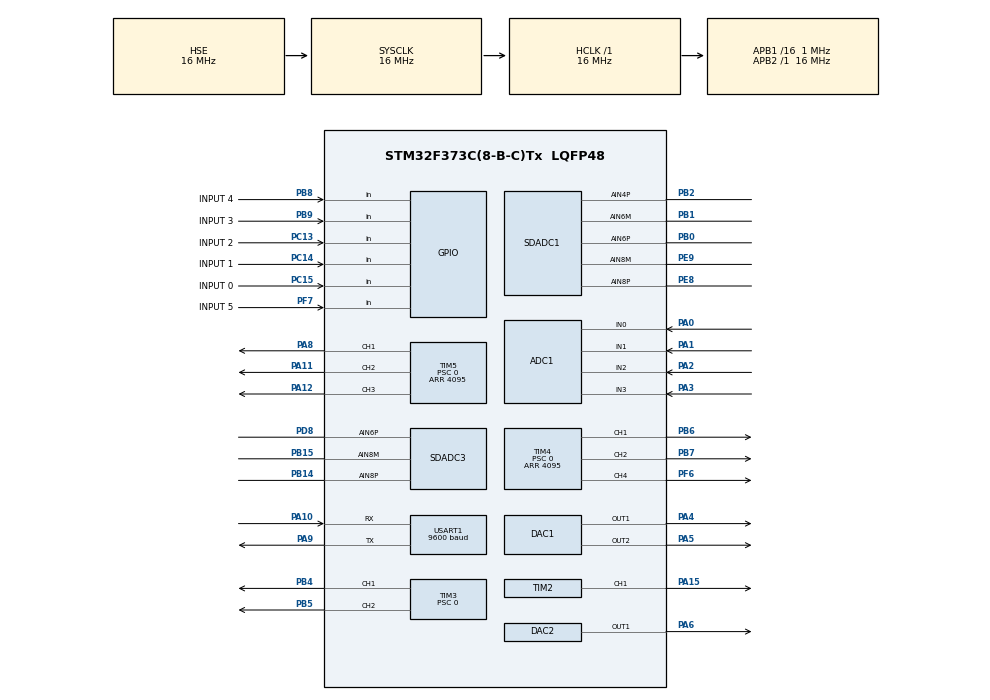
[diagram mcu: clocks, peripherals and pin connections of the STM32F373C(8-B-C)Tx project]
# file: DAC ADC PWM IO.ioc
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ADC1.Channel-4\#ChannelRegularConversion=ADC_CHANNEL_0
ADC1.Channel-5\#ChannelRegularConversion=ADC_CHANNEL_1
ADC1.Channel-6\#ChannelRegularConversion=ADC_CHANNEL_2
ADC1.Channel-7\#ChannelRegularConversion=ADC_CHANNEL_3
ADC1.ContinuousConvMode=ENABLE
ADC1.DiscontinuousConvMode=DISABLE
ADC1.EnableRegularConversion=ENABLE
ADC1.InjNumberOfConversion=0
ADC1.NbrOfConversion=4
ADC1.NbrOfConversionFlag=1
ADC1.Rank-4\#ChannelRegularConversion=1
ADC1.Rank-5\#ChannelRegularConversion=2
ADC1.Rank-6\#ChannelRegularConversion=3
ADC1.Rank-7\#ChannelRegularConversion=4
ADC1.SamplingTime-4\#ChannelRegularConversion=ADC_SAMPLETIME_239CYCLES_5
ADC1.SamplingTime-5\#ChannelRegularConversion=ADC_SAMPLETIME_239CYCLES_5
ADC1.SamplingTime-6\#ChannelRegularConversion=ADC_SAMPLETIME_239CYCLES_5
ADC1.SamplingTime-7\#ChannelRegularConversion=ADC_SAMPLETIME_239CYCLES_5
ADC1.master=1
DAC1.DAC_Trigger=DAC_TRIGGER_T6_TRGO
DAC1.DAC_Trigger2=DAC_TRIGGER_T6_TRGO
DAC2.DAC_Trigger=DAC_TRIGGER_T6_TRGO
Dma.ADC1.1.Direction=DMA_PERIPH_TO_MEMORY
Dma.ADC1.1.Instance=DMA1_Channel1
Dma.ADC1.1.MemDataAlignment=DMA_MDATAALIGN_HALFWORD
Dma.ADC1.1.MemInc=DMA_MINC_ENABLE
Dma.ADC1.1.Mode=DMA_CIRCULAR
Dma.ADC1.1.PeriphDataAlignment=DMA_PDATAALIGN_HALFWORD
Dma.ADC1.1.PeriphInc=DMA_PINC_DISABLE
Dma.ADC1.1.Priority=DMA_PRIORITY_LOW
Dma.Request0=USART1_RX
Dma.Request1=ADC1
Dma.USART1_RX.0.Direction=DMA_PERIPH_TO_MEMORY
Dma.USART1_RX.0.Instance=DMA1_Channel5
Dma.USART1_RX.0.MemDataAlignment=DMA_MDATAALIGN_BYTE
Dma.USART1_RX.0.MemInc=DMA_MINC_ENABLE
Dma.USART1_RX.0.Mode=DMA_CIRCULAR
Dma.USART1_RX.0.PeriphDataAlignment=DMA_PDATAALIGN_BYTE
Dma.USART1_RX.0.PeriphInc=DMA_PINC_DISABLE
Dma.USART1_RX.0.Priority=DMA_PRIORITY_LOW
Mcu.Family=STM32F3
Mcu.Name=STM32F373C(8-B-C)Tx
Mcu.Package=LQFP48
NVIC.DMA1_Channel1_IRQn=true\:0\:0\:false\:false\:true\:false\:true
NVIC.DMA1_Channel5_IRQn=true\:0\:0\:false\:false\:true\:false\:true
NVIC.PriorityGroup=NVIC_PRIORITYGROUP_4
NVIC.SDADC1_IRQn=true\:0\:0\:false\:false\:true\:true\:true
NVIC.SDADC3_IRQn=true\:0\:0\:false\:false\:true\:true\:true
PA0.Mode=IN0
PA0.Signal=ADC1_IN0
PA1.Mode=IN1
PA1.Signal=ADC1_IN1
PA10.GPIO_PuPd=GPIO_NOPULL
PA10.Mode=Asynchronous
PA10.Signal=USART1_RX
PA11.Signal=S_TIM5_CH2
PA12.Signal=S_TIM5_CH3
PA13.Mode=Trace_Asynchronous_SW
PA13.Signal=SYS_JTMS-SWDIO
PA14.Mode=Trace_Asynchronous_SW
PA14.Signal=SYS_JTCK-SWCLK
PA15.Signal=S_TIM2_CH1_ETR
PA2.Mode=IN2
PA2.Signal=ADC1_IN2
PA3.Mode=IN3
PA3.Signal=ADC1_IN3
PA4.Signal=COMP_DAC11_group
PA5.Signal=COMP_DAC12_group
PA6.Signal=COMP_DAC21_group
PA8.Signal=S_TIM5_CH1_ETR
PA9.GPIO_PuPd=GPIO_NOPULL
PA9.Mode=Asynchronous
PA9.Signal=USART1_TX
PB0.Mode=IN6-Differential
PB0.Signal=SDADC1_AIN6P
PB1.Mode=IN6-Differential
PB1.Signal=SDADC1_AIN6M
PB14.Mode=IN8-Differential
PB14.Signal=SDADC3_AIN8P
PB15.Mode=IN8-Differential
PB15.Signal=SDADC3_AIN8M
PB2.Mode=IN4-Single-Ended zero reference
PB2.Signal=SDADC1_AIN4P
PB3.Mode=Trace_Asynchronous_SW
PB3.Signal=SYS_JTDO-TRACESWO
PB4.Signal=S_TIM3_CH1
PB5.Signal=S_TIM3_CH2
PB6.Signal=S_TIM4_CH1
PB7.Signal=S_TIM4_CH2
PB8.GPIO_Label=INPUT 4
PB8.GPIO_PuPd=GPIO_PULLDOWN
PB8.Signal=GPIO_Input
PB9.GPIO_Label=INPUT 3
PB9.GPIO_PuPd=GPIO_PULLDOWN
PB9.Signal=GPIO_Input
PC13.GPIO_Label=INPUT 2
PC13.GPIO_PuPd=GPIO_PULLDOWN
PC13.Signal=GPIO_Input
PC14-OSC32_IN.GPIO_Label=INPUT 1
PC14-OSC32_IN.GPIO_PuPd=GPIO_PULLDOWN
PC14-OSC32_IN.Signal=GPIO_Input
PC15-OSC32_OUT.GPIO_Label=INPUT 0
PC15-OSC32_OUT.GPIO_PuPd=GPIO_PULLDOWN
PC15-OSC32_OUT.Signal=GPIO_Input
PD8.Mode=IN6-Single-Ended zero reference
PD8.Signal=SDADC3_AIN6P
PE8.Mode=IN8-Differential
PE8.Signal=SDADC1_AIN8P
PE9.Mode=IN8-Differential
PE9.Signal=SDADC1_AIN8M
PF0-OSC_IN.Mode=HSE-External-Oscillator
PF0-OSC_IN.Signal=RCC_OSC_IN
PF1-OSC_OUT.Mode=HSE-External-Oscillator
PF1-OSC_OUT.Signal=RCC_OSC_OUT
PF6.Signal=S_TIM4_CH4
PF7.GPIO_Label=INPUT 5
PF7.GPIO_PuPd=GPIO_PULLDOWN
PF7.Signal=GPIO_Input
ProjectManager.HeapSize=0x200
ProjectManager.StackSize=0x400
ProjectManager.TargetToolchain=STM32CubeIDE
RCC.AHBFreq_Value=16000000
RCC.APB1CLKDivider=RCC_HCLK_DIV16
RCC.APB1Freq_Value=1000000
RCC.APB1TimFreq_Value=2000000
RCC.APB2Freq_Value=16000000
RCC.APB2TimFreq_Value=16000000
RCC.CortexFreq_Value=16000000
RCC.HCLKFreq_Value=16000000
RCC.HSE_VALUE=16000000
RCC.HSI_VALUE=8000000
RCC.LSE_VALUE=32768
RCC.OscillatorTypeHSE-ClockTree=RCC_OSCILLATORTYPE_HSE
RCC.PLLSourceVirtual=RCC_PLLSOURCE_HSE
RCC.SDADCPresc=RCC_SDADCSYSCLK_DIV4
RCC.SYSCLKFreq_VALUE=16000000
RCC.SYSCLKSource=RCC_SYSCLKSOURCE_HSE
RCC.USBFreq_Value=32000000
SDADC1.EnableInjectedConversion=ENABLE
SDADC1.EnableRegularconversion=DISABLE
SDADC1.InjDelay=Enable
SDADC1.InjNumberOfConversion=3
SDADC1.InjectedChannel-10\#ChannelInjectedConversion=SDADC_CHANNEL_8
SDADC1.InjectedChannel-11\#ChannelInjectedConversion=SDADC_CHANNEL_6
SDADC1.InjectedChannel-9\#ChannelInjectedConversion=SDADC_CHANNEL_4
SDADC1.InjectedChannelsSelection=SDADC_CHANNEL_4|SDADC_CHANNEL_8|SDADC_CHANNEL_6
SDADC1.InjectedConfIndex-10\#ChannelInjectedConversion=SDADC_CONF_INDEX_1
SDADC1.InjectedConfIndex-11\#ChannelInjectedConversion=SDADC_CONF_INDEX_1
SDADC1.InjectedConfIndex-9\#ChannelInjectedConversion=SDADC_CONF_INDEX_0
SDADC1.InjectedContinuousMode=SDADC_CONTINUOUS_CONV_ON
SDADC1.InjectedRank-10\#ChannelInjectedConversion=2
SDADC1.InjectedRank-11\#ChannelInjectedConversion=3
SDADC1.InjectedRank-9\#ChannelInjectedConversion=1
SDADC1.InjectedTrigger=SDADC_SOFTWARE_TRIGGER
SDADC1.InputMode0=SDADC_INPUT_MODE_SE_ZERO_REFERENCE
SDADC1.NbrOfConversionFlag=1
SDADC1.Offset0=0
SDADC1.ReferenceVoltage=SDADC_VREF_VDDA
SDADC3.EnableInjectedConversion=ENABLE
SDADC3.EnableRegularconversion=DISABLE
SDADC3.FastConversionMode=SDADC_FAST_CONV_DISABLE
SDADC3.Gain0=SDADC_GAIN_1
SDADC3.InjDelay=Enable
SDADC3.InjNumberOfConversion=2
SDADC3.InjectedChannel-6\#ChannelInjectedConversion=SDADC_CHANNEL_6
SDADC3.InjectedChannel-7\#ChannelInjectedConversion=SDADC_CHANNEL_8
SDADC3.InjectedChannelsSelection=SDADC_CHANNEL_6|SDADC_CHANNEL_8
SDADC3.InjectedConfIndex-6\#ChannelInjectedConversion=SDADC_CONF_INDEX_0
SDADC3.InjectedConfIndex-7\#ChannelInjectedConversion=SDADC_CONF_INDEX_1
SDADC3.InjectedContinuousMode=SDADC_CONTINUOUS_CONV_ON
SDADC3.InjectedRank-6\#ChannelInjectedConversion=1
SDADC3.InjectedRank-7\#ChannelInjectedConversion=2
SDADC3.InputMode0=SDADC_INPUT_MODE_SE_ZERO_REFERENCE
SDADC3.NbrOfConversionFlag=1
SDADC3.ReferenceVoltage=SDADC_VREF_VDDA
SH.COMP_DAC11_group.0=DAC1_OUT1,DAC_OUT1
SH.COMP_DAC12_group.0=DAC1_OUT2,Enable_DAC_OUT2
SH.COMP_DAC21_group.0=DAC2_OUT1,DAC_OUT1
SH.S_TIM2_CH1_ETR.0=TIM2_CH1,PWM Generation1 CH1
SH.S_TIM3_CH1.0=TIM3_CH1,PWM Generation1 CH1
SH.S_TIM3_CH2.0=TIM3_CH2,PWM Generation2 CH2
SH.S_TIM4_CH1.0=TIM4_CH1,PWM Generation1 CH1
SH.S_TIM4_CH2.0=TIM4_CH2,PWM Generation2 CH2
SH.S_TIM4_CH4.0=TIM4_CH4,PWM Generation4 CH4
SH.S_TIM5_CH1_ETR.0=TIM5_CH1,PWM Generation1 CH1
SH.S_TIM5_CH2.0=TIM5_CH2,PWM Generation2 CH2
SH.S_TIM5_CH3.0=TIM5_CH3,PWM Generation3 CH3
TIM19.TIM_MasterOutputTrigger=TIM_TRGO_UPDATE
TIM2.Channel-PWM\ Generation1\ CH1=TIM_CHANNEL_1
TIM2.Period=4095
TIM2.Prescaler=0
TIM3.Channel-PWM\ Generation1\ CH1=TIM_CHANNEL_1
TIM3.Channel-PWM\ Generation2\ CH2=TIM_CHANNEL_2
TIM3.Period=4095
TIM3.Prescaler=0
TIM4.Channel-PWM\ Generation1\ CH1=TIM_CHANNEL_1
TIM4.Channel-PWM\ Generation2\ CH2=TIM_CHANNEL_2
TIM4.Channel-PWM\ Generation4\ CH4=TIM_CHANNEL_4
TIM4.Period=4095
TIM4.Prescaler=0
TIM5.Channel-PWM\ Generation1\ CH1=TIM_CHANNEL_1
TIM5.Channel-PWM\ Generation2\ CH2=TIM_CHANNEL_2
TIM5.Channel-PWM\ Generation3\ CH3=TIM_CHANNEL_3
TIM5.Period=4095
TIM5.Prescaler=0
TIM6.Period=65535
TIM6.Prescaler=0
TIM6.TIM_MasterOutputTrigger=TIM_TRGO_UPDATE
USART1.BaudRate=9600
USART1.VirtualMode-Asynchronous=VM_ASYNC
VP_SDADC1_CONF0.Mode=ConfigZero
VP_SDADC1_CONF1.Mode=ConfigUn
VP_SDADC3_CONF0.Mode=ConfigZero
VP_SDADC3_CONF1.Mode=ConfigUn
VP_TIM19_VS_ClockSourceINT.Mode=Internal
VP_TIM2_VS_ClockSourceINT.Mode=Internal
VP_TIM3_VS_ClockSourceINT.Mode=Internal
VP_TIM4_VS_ClockSourceINT.Mode=Internal
VP_TIM5_VS_ClockSourceINT.Mode=Internal
VP_TIM6_VS_ClockSourceINT.Mode=Enable_Timer
board=custom

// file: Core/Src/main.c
/* USER CODE BEGIN Header */
/**
 ******************************************************************************
 * @file           : main.c
 * @brief          : Main program body
 ******************************************************************************
 * @attention
 *
 * <h2><center>&copy; Copyright (c) 2020 STMicroelectronics.
 * All rights reserved.</center></h2>
 *
 * This software component is licensed by ST under BSD 3-Clause license,
 * the "License"; You may not use this file except in compliance with the
 * License. You may obtain a copy of the License at:
 *                        opensource.org/licenses/BSD-3-Clause
 *
 ******************************************************************************
 */
/* USER CODE END Header */
#include "main.h"

/* USER CODE BEGIN Includes */
#include "FlashMemory_F3/ReadWrite.h"
/* USER CODE END Includes */

ADC_HandleTypeDef hadc1;
DMA_HandleTypeDef hdma_adc1;

DAC_HandleTypeDef hdac1;
DAC_HandleTypeDef hdac2;

SDADC_HandleTypeDef hsdadc1;
SDADC_HandleTypeDef hsdadc3;

TIM_HandleTypeDef htim2;
TIM_HandleTypeDef htim3;
TIM_HandleTypeDef htim4;
TIM_HandleTypeDef htim5;
TIM_HandleTypeDef htim6;
TIM_HandleTypeDef htim19;

UART_HandleTypeDef huart1;
DMA_HandleTypeDef hdma_usart1_rx;

/* USER CODE BEGIN PV */
uint8_t RX_DATA[1 + 9 * 2 + 3 * 2] = { 0 }; // Choice + PWM + DAC
uint8_t TX_DATA[4 * 2 + 2 * 2 + 3 * 2 + 6] = { 0 }; // ADC + SDADC + DSDADC + DI
uint16_t PWM_PERIOD[9] = { 0 };
uint16_t DAC_OUTPUT[3] = { 0 };
uint16_t ADC_VALUES[4] = { 0 };
uint16_t SD_ADC[6] = {0}; // For both Differential and single
uint16_t DI_VALUES[6] = { 0 };
uint16_t TIM_PRESCALES[4] = { 0 }; // TIM2, TIM3, TIM4, TIM5
uint32_t CHANNEL = 4; // SD-ADC channels
/* USER CODE END PV */

void SystemClock_Config(void);
static void MX_GPIO_Init(void);
static void MX_DMA_Init(void);
static void MX_ADC1_Init(void);
static void MX_DAC1_Init(void);
static void MX_DAC2_Init(void);
static void MX_SDADC1_Init(void);
static void MX_SDADC3_Init(void);
static void MX_TIM2_Init(void);
static void MX_TIM3_Init(void);
static void MX_TIM4_Init(void);
static void MX_TIM5_Init(void);
static void MX_USART1_UART_Init(void);
static void MX_TIM19_Init(void);
static void MX_TIM6_Init(void);
/* USER CODE BEGIN PFP */
void fill_uint16_array(uint8_t array8[], uint16_t array16[], uint8_t elements_that_has_been_written, uint8_t size);
void fill_TX_DATA_16(uint8_t array8[], uint16_t array16[], uint8_t elements_that_has_been_written, uint8_t size);
void fill_TX_DATA_8(uint8_t array8[], uint16_t array16[], uint8_t elements_that_has_been_written, uint8_t size);
void read_PWM_TIM_prescalers_from_memory();
void write_PWM_TIM_prescalers_to_memory();
void read_PWM_DAC_periods_send_measurement_back();
void is_ready();
void is_not_ready();
/* USER CODE END PFP */

int main(void)
{

  /* MCU Configuration--------------------------------------------------------*/

  /* Reset of all peripherals, Initializes the Flash interface and the Systick. */
  HAL_Init();

  /* Configure the system clock */
  SystemClock_Config();

  /* Initialize all configured peripherals */
  MX_GPIO_Init();
  MX_DMA_Init();
  MX_ADC1_Init();
  MX_DAC1_Init();
  MX_DAC2_Init();
  MX_SDADC1_Init();
  MX_SDADC3_Init();
  MX_TIM2_Init();
  MX_TIM3_Init();
  MX_TIM4_Init();
  MX_TIM5_Init();
  MX_USART1_UART_Init();
  MX_TIM19_Init();
  MX_TIM6_Init();
  /* USER CODE BEGIN 2 */

	// DMA UART
	uint8_t RX_DATA_element_size = sizeof(RX_DATA);
	HAL_UART_Receive_DMA(&huart1, RX_DATA, RX_DATA_element_size);

	// TIM Trig
	HAL_TIM_Base_Start(&htim6); // For DAC
	HAL_TIM_Base_Start(&htim19); // For ADC

	// DMA ADC
	uint8_t ADC_element_size = sizeof(ADC_VALUES) / sizeof(ADC_VALUES[0]);
	HAL_ADC_Start_DMA(&hadc1, (uint32_t*) ADC_VALUES, ADC_element_size);

	// IT SD ADC
	HAL_SDADC_Start_IT(&hsdadc1);
	HAL_SDADC_Start_IT(&hsdadc3);

	// DAC
	HAL_DAC_Start(&hdac1, DAC1_CHANNEL_1);
	HAL_DAC_Start(&hdac1, DAC1_CHANNEL_2);
	HAL_DAC_Start(&hdac2, DAC1_CHANNEL_1);

	// PWM
	HAL_TIM_PWM_Start(&htim2, TIM_CHANNEL_1);
	HAL_TIM_PWM_Start(&htim3, TIM_CHANNEL_1);
	HAL_TIM_PWM_Start(&htim3, TIM_CHANNEL_2);
	HAL_TIM_PWM_Start(&htim4, TIM_CHANNEL_1);
	HAL_TIM_PWM_Start(&htim4, TIM_CHANNEL_2);
	HAL_TIM_PWM_Start(&htim4, TIM_CHANNEL_4);
	HAL_TIM_PWM_Start(&htim5, TIM_CHANNEL_1);
	HAL_TIM_PWM_Start(&htim5, TIM_CHANNEL_2);
	HAL_TIM_PWM_Start(&htim5, TIM_CHANNEL_3);

	// Set the PWM timers
	FlashSetAddrs(0x0803F800);
	read_PWM_TIM_prescalers_from_memory();

  /* USER CODE END 2 */

  /* Infinite loop */
	while (1) {

    /* USER CODE BEGIN 3 */
		// TIM 2
		htim2.Instance->CCR1 = PWM_PERIOD[4]; // P4
		// TIM 3
		htim3.Instance->CCR1 = PWM_PERIOD[5]; // P5
		htim3.Instance->CCR2 = PWM_PERIOD[6]; // P6
		// TIM 4
		htim4.Instance->CCR1 = PWM_PERIOD[7]; // P7
		htim4.Instance->CCR2 = PWM_PERIOD[8]; // P8
		htim4.Instance->CCR4 = PWM_PERIOD[3]; // P3
		// TIM 5
		htim5.Instance->CCR1 = PWM_PERIOD[0]; // P0
		htim5.Instance->CCR2 = PWM_PERIOD[1]; // P1
		htim5.Instance->CCR3 = PWM_PERIOD[2]; // P2
		// DAC 1
		HAL_DAC_SetValue(&hdac1, DAC1_CHANNEL_1, DAC_ALIGN_12B_R, DAC_OUTPUT[2]); // D2
		HAL_DAC_SetValue(&hdac1, DAC1_CHANNEL_2, DAC_ALIGN_12B_R, DAC_OUTPUT[1]); // D1
		// DAC 2
		HAL_DAC_SetValue(&hdac2, DAC1_CHANNEL_1, DAC_ALIGN_12B_R, DAC_OUTPUT[0]); // D0
		// DI
		DI_VALUES[0] = HAL_GPIO_ReadPin(INPUT_0_GPIO_Port, INPUT_0_Pin); // I0
		DI_VALUES[1] = HAL_GPIO_ReadPin(INPUT_1_GPIO_Port, INPUT_1_Pin); // I1
		DI_VALUES[2] = HAL_GPIO_ReadPin(INPUT_2_GPIO_Port, INPUT_2_Pin); // I2
		DI_VALUES[3] = HAL_GPIO_ReadPin(INPUT_3_GPIO_Port, INPUT_3_Pin); // I3
		DI_VALUES[4] = HAL_GPIO_ReadPin(INPUT_4_GPIO_Port, INPUT_4_Pin); // I4
		DI_VALUES[5] = HAL_GPIO_ReadPin(INPUT_5_GPIO_Port, INPUT_5_Pin); // I5
	}
  /* USER CODE END 3 */
}

void SystemClock_Config(void)
{
  RCC_OscInitTypeDef RCC_OscInitStruct = {0};
  RCC_ClkInitTypeDef RCC_ClkInitStruct = {0};
  RCC_PeriphCLKInitTypeDef PeriphClkInit = {0};

  /** Initializes the RCC Oscillators according to the specified parameters
  * in the RCC_OscInitTypeDef structure.
  */
  RCC_OscInitStruct.OscillatorType = RCC_OSCILLATORTYPE_HSE;
  RCC_OscInitStruct.HSEState = RCC_HSE_ON;
  RCC_OscInitStruct.PLL.PLLState = RCC_PLL_NONE;
  if (HAL_RCC_OscConfig(&RCC_OscInitStruct) != HAL_OK)
  {
    Error_Handler();
  }
  /** Initializes the CPU, AHB and APB buses clocks
  */
  RCC_ClkInitStruct.ClockType = RCC_CLOCKTYPE_HCLK|RCC_CLOCKTYPE_SYSCLK
                              |RCC_CLOCKTYPE_PCLK1|RCC_CLOCKTYPE_PCLK2;
  RCC_ClkInitStruct.SYSCLKSource = RCC_SYSCLKSOURCE_HSE;
  RCC_ClkInitStruct.AHBCLKDivider = RCC_SYSCLK_DIV1;
  RCC_ClkInitStruct.APB1CLKDivider = RCC_HCLK_DIV16;
  RCC_ClkInitStruct.APB2CLKDivider = RCC_HCLK_DIV1;

  if (HAL_RCC_ClockConfig(&RCC_ClkInitStruct, FLASH_LATENCY_0) != HAL_OK)
  {
    Error_Handler();
  }
  PeriphClkInit.PeriphClockSelection = RCC_PERIPHCLK_USART1|RCC_PERIPHCLK_ADC1
                              |RCC_PERIPHCLK_SDADC;
  PeriphClkInit.Usart1ClockSelection = RCC_USART1CLKSOURCE_PCLK2;
  PeriphClkInit.SdadcClockSelection = RCC_SDADCSYSCLK_DIV4;
  PeriphClkInit.Adc1ClockSelection = RCC_ADC1PCLK2_DIV2;

  if (HAL_RCCEx_PeriphCLKConfig(&PeriphClkInit) != HAL_OK)
  {
    Error_Handler();
  }
  HAL_PWREx_EnableSDADC(PWR_SDADC_ANALOG1);
  HAL_PWREx_EnableSDADC(PWR_SDADC_ANALOG3);
}

static void MX_ADC1_Init(void)
{

  ADC_ChannelConfTypeDef sConfig = {0};

  /** Common config
  */
  hadc1.Instance = ADC1;
  hadc1.Init.ScanConvMode = ADC_SCAN_ENABLE;
  hadc1.Init.ContinuousConvMode = ENABLE;
  hadc1.Init.DiscontinuousConvMode = DISABLE;
  hadc1.Init.ExternalTrigConv = ADC_EXTERNALTRIGCONV_T19_TRGO;
  hadc1.Init.DataAlign = ADC_DATAALIGN_RIGHT;
  hadc1.Init.NbrOfConversion = 4;
  if (HAL_ADC_Init(&hadc1) != HAL_OK)
  {
    Error_Handler();
  }
  /** Configure Regular Channel
  */
  sConfig.Channel = ADC_CHANNEL_0;
  sConfig.Rank = ADC_REGULAR_RANK_1;
  sConfig.SamplingTime = ADC_SAMPLETIME_239CYCLES_5;
  if (HAL_ADC_ConfigChannel(&hadc1, &sConfig) != HAL_OK)
  {
    Error_Handler();
  }
  /** Configure Regular Channel
  */
  sConfig.Channel = ADC_CHANNEL_1;
  sConfig.Rank = ADC_REGULAR_RANK_2;
  if (HAL_ADC_ConfigChannel(&hadc1, &sConfig) != HAL_OK)
  {
    Error_Handler();
  }
  /** Configure Regular Channel
  */
  sConfig.Channel = ADC_CHANNEL_2;
  sConfig.Rank = ADC_REGULAR_RANK_3;
  if (HAL_ADC_ConfigChannel(&hadc1, &sConfig) != HAL_OK)
  {
    Error_Handler();
  }
  /** Configure Regular Channel
  */
  sConfig.Channel = ADC_CHANNEL_3;
  sConfig.Rank = ADC_REGULAR_RANK_4;
  if (HAL_ADC_ConfigChannel(&hadc1, &sConfig) != HAL_OK)
  {
    Error_Handler();
  }

}

static void MX_DAC1_Init(void)
{

  DAC_ChannelConfTypeDef sConfig = {0};

  /** DAC Initialization
  */
  hdac1.Instance = DAC1;
  if (HAL_DAC_Init(&hdac1) != HAL_OK)
  {
    Error_Handler();
  }
  /** DAC channel OUT1 config
  */
  sConfig.DAC_Trigger = DAC_TRIGGER_T6_TRGO;
  sConfig.DAC_OutputBuffer = DAC_OUTPUTBUFFER_ENABLE;
  if (HAL_DAC_ConfigChannel(&hdac1, &sConfig, DAC_CHANNEL_1) != HAL_OK)
  {
    Error_Handler();
  }
  /** DAC channel OUT2 config
  */
  if (HAL_DAC_ConfigChannel(&hdac1, &sConfig, DAC_CHANNEL_2) != HAL_OK)
  {
    Error_Handler();
  }

}

static void MX_DAC2_Init(void)
{

  DAC_ChannelConfTypeDef sConfig = {0};

  /** DAC Initialization
  */
  hdac2.Instance = DAC2;
  if (HAL_DAC_Init(&hdac2) != HAL_OK)
  {
    Error_Handler();
  }
  /** DAC channel OUT1 config
  */
  sConfig.DAC_Trigger = DAC_TRIGGER_T6_TRGO;
  sConfig.DAC_OutputBuffer = DAC_OUTPUTBUFFER_ENABLE;
  if (HAL_DAC_ConfigChannel(&hdac2, &sConfig, DAC_CHANNEL_1) != HAL_OK)
  {
    Error_Handler();
  }

}

static void MX_SDADC1_Init(void)
{

  SDADC_ConfParamTypeDef ConfParamStruct = {0};

  /** Configure the SDADC low power mode, fast conversion mode,
  slow clock mode and SDADC1 reference voltage
  */
  hsdadc1.Instance = SDADC1;
  hsdadc1.Init.IdleLowPowerMode = SDADC_LOWPOWER_NONE;
  hsdadc1.Init.FastConversionMode = SDADC_FAST_CONV_DISABLE;
  hsdadc1.Init.SlowClockMode = SDADC_SLOW_CLOCK_DISABLE;
  hsdadc1.Init.ReferenceVoltage = SDADC_VREF_VDDA;
  hsdadc1.InjectedTrigger = SDADC_SOFTWARE_TRIGGER;
  if (HAL_SDADC_Init(&hsdadc1) != HAL_OK)
  {
    Error_Handler();
  }
  /** Configure the Injected Mode
  */
  if (HAL_SDADC_SelectInjectedDelay(&hsdadc1, SDADC_INJECTED_DELAY) != HAL_OK)
  {
    Error_Handler();
  }
  if (HAL_SDADC_SelectInjectedTrigger(&hsdadc1, SDADC_SOFTWARE_TRIGGER) != HAL_OK)
  {
    Error_Handler();
  }
  if (HAL_SDADC_InjectedConfigChannel(&hsdadc1, SDADC_CHANNEL_4|SDADC_CHANNEL_8
                              |SDADC_CHANNEL_6, SDADC_CONTINUOUS_CONV_ON) != HAL_OK)
  {
    Error_Handler();
  }
  /** Set parameters for SDADC configuration 0 Register
  */
  ConfParamStruct.InputMode = SDADC_INPUT_MODE_SE_ZERO_REFERENCE;
  ConfParamStruct.Gain = SDADC_GAIN_1;
  ConfParamStruct.CommonMode = SDADC_COMMON_MODE_VSSA;
  ConfParamStruct.Offset = 0;
  if (HAL_SDADC_PrepareChannelConfig(&hsdadc1, SDADC_CONF_INDEX_0, &ConfParamStruct) != HAL_OK)
  {
    Error_Handler();
  }
  /** Set parameters for SDADC configuration 1 Register
  */
  ConfParamStruct.InputMode = SDADC_INPUT_MODE_DIFF;
  if (HAL_SDADC_PrepareChannelConfig(&hsdadc1, SDADC_CONF_INDEX_1, &ConfParamStruct) != HAL_OK)
  {
    Error_Handler();
  }
  /** Configure the Injected Channel
  */
  if (HAL_SDADC_AssociateChannelConfig(&hsdadc1, SDADC_CHANNEL_4, SDADC_CONF_INDEX_0) != HAL_OK)
  {
    Error_Handler();
  }
  /** Configure the Injected Channel
  */
  if (HAL_SDADC_AssociateChannelConfig(&hsdadc1, SDADC_CHANNEL_8, SDADC_CONF_INDEX_1) != HAL_OK)
  {
    Error_Handler();
  }
  /** Configure the Injected Channel
  */
  if (HAL_SDADC_AssociateChannelConfig(&hsdadc1, SDADC_CHANNEL_6, SDADC_CONF_INDEX_1) != HAL_OK)
  {
    Error_Handler();
  }
  /* USER CODE BEGIN SDADC1_Init 2 */

	// Multi mode for SDADC1 and SDADC3
	if (HAL_SDADC_InjectedMultiModeConfigChannel(&hsdadc1, SDADC_MULTIMODE_SDADC1_SDADC3) != HAL_OK)
	{
		Error_Handler();
	}

	// Calibration
	if (HAL_SDADC_CalibrationStart(&hsdadc1, SDADC_CALIBRATION_SEQ_1) != HAL_OK) {
		Error_Handler();
	}

	// Pool for the end of calibration
	if (HAL_SDADC_PollForCalibEvent(&hsdadc1, HAL_MAX_DELAY) != HAL_OK) {
		Error_Handler();
	}

	// Start interrupt mode
	if (HAL_SDADC_InjectedStart_IT(&hsdadc1) != HAL_OK) {
		Error_Handler();
	}
  /* USER CODE END SDADC1_Init 2 */

}

static void MX_SDADC3_Init(void)
{

  SDADC_ConfParamTypeDef ConfParamStruct = {0};

  /** Configure the SDADC low power mode, fast conversion mode,
  slow clock mode and SDADC1 reference voltage
  */
  hsdadc3.Instance = SDADC3;
  hsdadc3.Init.IdleLowPowerMode = SDADC_LOWPOWER_NONE;
  hsdadc3.Init.FastConversionMode = SDADC_FAST_CONV_DISABLE;
  hsdadc3.Init.SlowClockMode = SDADC_SLOW_CLOCK_DISABLE;
  hsdadc3.Init.ReferenceVoltage = SDADC_VREF_VDDA;
  hsdadc3.InjectedTrigger = SDADC_SOFTWARE_TRIGGER;
  if (HAL_SDADC_Init(&hsdadc3) != HAL_OK)
  {
    Error_Handler();
  }
  /** Configure the Injected Mode
  */
  if (HAL_SDADC_SelectInjectedDelay(&hsdadc3, SDADC_INJECTED_DELAY) != HAL_OK)
  {
    Error_Handler();
  }
  if (HAL_SDADC_SelectInjectedTrigger(&hsdadc3, SDADC_SOFTWARE_TRIGGER) != HAL_OK)
  {
    Error_Handler();
  }
  if (HAL_SDADC_InjectedConfigChannel(&hsdadc3, SDADC_CHANNEL_6|SDADC_CHANNEL_8, SDADC_CONTINUOUS_CONV_ON) != HAL_OK)
  {
    Error_Handler();
  }
  /** Set parameters for SDADC configuration 0 Register
  */
  ConfParamStruct.InputMode = SDADC_INPUT_MODE_SE_ZERO_REFERENCE;
  ConfParamStruct.Gain = SDADC_GAIN_1;
  ConfParamStruct.CommonMode = SDADC_COMMON_MODE_VSSA;
  ConfParamStruct.Offset = 0;
  if (HAL_SDADC_PrepareChannelConfig(&hsdadc3, SDADC_CONF_INDEX_0, &ConfParamStruct) != HAL_OK)
  {
    Error_Handler();
  }
  /** Set parameters for SDADC configuration 1 Register
  */
  ConfParamStruct.InputMode = SDADC_INPUT_MODE_DIFF;
  if (HAL_SDADC_PrepareChannelConfig(&hsdadc3, SDADC_CONF_INDEX_1, &ConfParamStruct) != HAL_OK)
  {
    Error_Handler();
  }
  /** Configure the Injected Channel
  */
  if (HAL_SDADC_AssociateChannelConfig(&hsdadc3, SDADC_CHANNEL_6, SDADC_CONF_INDEX_0) != HAL_OK)
  {
    Error_Handler();
  }
  /** Configure the Injected Channel
  */
  if (HAL_SDADC_AssociateChannelConfig(&hsdadc3, SDADC_CHANNEL_8, SDADC_CONF_INDEX_1) != HAL_OK)
  {
    Error_Handler();
  }
  /* USER CODE BEGIN SDADC3_Init 2 */

    // Calibration
	if (HAL_SDADC_CalibrationStart(&hsdadc3, SDADC_CALIBRATION_SEQ_1) != HAL_OK) {
		Error_Handler();
	}

	// Pool for the end of calibration
	if (HAL_SDADC_PollForCalibEvent(&hsdadc3, HAL_MAX_DELAY) != HAL_OK) {
		Error_Handler();
	}

	// Start interrupt mode
	if (HAL_SDADC_InjectedStart_IT(&hsdadc3) != HAL_OK) {
		Error_Handler();
	}
  /* USER CODE END SDADC3_Init 2 */

}

static void MX_TIM2_Init(void)
{

  TIM_ClockConfigTypeDef sClockSourceConfig = {0};
  TIM_MasterConfigTypeDef sMasterConfig = {0};
  TIM_OC_InitTypeDef sConfigOC = {0};

  htim2.Instance = TIM2;
  htim2.Init.Prescaler = 0;
  htim2.Init.CounterMode = TIM_COUNTERMODE_UP;
  htim2.Init.Period = 4095;
  htim2.Init.ClockDivision = TIM_CLOCKDIVISION_DIV1;
  htim2.Init.AutoReloadPreload = TIM_AUTORELOAD_PRELOAD_DISABLE;
  if (HAL_TIM_Base_Init(&htim2) != HAL_OK)
  {
    Error_Handler();
  }
  sClockSourceConfig.ClockSource = TIM_CLOCKSOURCE_INTERNAL;
  if (HAL_TIM_ConfigClockSource(&htim2, &sClockSourceConfig) != HAL_OK)
  {
    Error_Handler();
  }
  if (HAL_TIM_PWM_Init(&htim2) != HAL_OK)
  {
    Error_Handler();
  }
  sMasterConfig.MasterOutputTrigger = TIM_TRGO_RESET;
  sMasterConfig.MasterSlaveMode = TIM_MASTERSLAVEMODE_DISABLE;
  if (HAL_TIMEx_MasterConfigSynchronization(&htim2, &sMasterConfig) != HAL_OK)
  {
    Error_Handler();
  }
  sConfigOC.OCMode = TIM_OCMODE_PWM1;
  sConfigOC.Pulse = 0;
  sConfigOC.OCPolarity = TIM_OCPOLARITY_HIGH;
  sConfigOC.OCFastMode = TIM_OCFAST_DISABLE;
  if (HAL_TIM_PWM_ConfigChannel(&htim2, &sConfigOC, TIM_CHANNEL_1) != HAL_OK)
  {
    Error_Handler();
  }
  HAL_TIM_MspPostInit(&htim2);

}

static void MX_TIM3_Init(void)
{

  TIM_ClockConfigTypeDef sClockSourceConfig = {0};
  TIM_MasterConfigTypeDef sMasterConfig = {0};
  TIM_OC_InitTypeDef sConfigOC = {0};

  htim3.Instance = TIM3;
  htim3.Init.Prescaler = 0;
  htim3.Init.CounterMode = TIM_COUNTERMODE_UP;
  htim3.Init.Period = 4095;
  htim3.Init.ClockDivision = TIM_CLOCKDIVISION_DIV1;
  htim3.Init.AutoReloadPreload = TIM_AUTORELOAD_PRELOAD_DISABLE;
  if (HAL_TIM_Base_Init(&htim3) != HAL_OK)
  {
    Error_Handler();
  }
  sClockSourceConfig.ClockSource = TIM_CLOCKSOURCE_INTERNAL;
  if (HAL_TIM_ConfigClockSource(&htim3, &sClockSourceConfig) != HAL_OK)
  {
    Error_Handler();
  }
  if (HAL_TIM_PWM_Init(&htim3) != HAL_OK)
  {
    Error_Handler();
  }
  sMasterConfig.MasterOutputTrigger = TIM_TRGO_RESET;
  sMasterConfig.MasterSlaveMode = TIM_MASTERSLAVEMODE_DISABLE;
  if (HAL_TIMEx_MasterConfigSynchronization(&htim3, &sMasterConfig) != HAL_OK)
  {
    Error_Handler();
  }
  sConfigOC.OCMode = TIM_OCMODE_PWM1;
  sConfigOC.Pulse = 0;
  sConfigOC.OCPolarity = TIM_OCPOLARITY_HIGH;
  sConfigOC.OCFastMode = TIM_OCFAST_DISABLE;
  if (HAL_TIM_PWM_ConfigChannel(&htim3, &sConfigOC, TIM_CHANNEL_1) != HAL_OK)
  {
    Error_Handler();
  }
  if (HAL_TIM_PWM_ConfigChannel(&htim3, &sConfigOC, TIM_CHANNEL_2) != HAL_OK)
  {
    Error_Handler();
  }
  HAL_TIM_MspPostInit(&htim3);

}

static void MX_TIM4_Init(void)
{

  TIM_ClockConfigTypeDef sClockSourceConfig = {0};
  TIM_MasterConfigTypeDef sMasterConfig = {0};
  TIM_OC_InitTypeDef sConfigOC = {0};

  htim4.Instance = TIM4;
  htim4.Init.Prescaler = 0;
  htim4.Init.CounterMode = TIM_COUNTERMODE_UP;
  htim4.Init.Period = 4095;
  htim4.Init.ClockDivision = TIM_CLOCKDIVISION_DIV1;
  htim4.Init.AutoReloadPreload = TIM_AUTORELOAD_PRELOAD_DISABLE;
  if (HAL_TIM_Base_Init(&htim4) != HAL_OK)
  {
    Error_Handler();
  }
  sClockSourceConfig.ClockSource = TIM_CLOCKSOURCE_INTERNAL;
  if (HAL_TIM_ConfigClockSource(&htim4, &sClockSourceConfig) != HAL_OK)
  {
    Error_Handler();
  }
  if (HAL_TIM_PWM_Init(&htim4) != HAL_OK)
  {
    Error_Handler();
  }
  sMasterConfig.MasterOutputTrigger = TIM_TRGO_RESET;
  sMasterConfig.MasterSlaveMode = TIM_MASTERSLAVEMODE_DISABLE;
  if (HAL_TIMEx_MasterConfigSynchronization(&htim4, &sMasterConfig) != HAL_OK)
  {
    Error_Handler();
  }
  sConfigOC.OCMode = TIM_OCMODE_PWM1;
  sConfigOC.Pulse = 0;
  sConfigOC.OCPolarity = TIM_OCPOLARITY_HIGH;
  sConfigOC.OCFastMode = TIM_OCFAST_DISABLE;
  if (HAL_TIM_PWM_ConfigChannel(&htim4, &sConfigOC, TIM_CHANNEL_1) != HAL_OK)
  {
    Error_Handler();
  }
  if (HAL_TIM_PWM_ConfigChannel(&htim4, &sConfigOC, TIM_CHANNEL_2) != HAL_OK)
  {
    Error_Handler();
  }
  if (HAL_TIM_PWM_ConfigChannel(&htim4, &sConfigOC, TIM_CHANNEL_4) != HAL_OK)
  {
    Error_Handler();
  }
  HAL_TIM_MspPostInit(&htim4);

}

static void MX_TIM5_Init(void)
{

  TIM_ClockConfigTypeDef sClockSourceConfig = {0};
  TIM_MasterConfigTypeDef sMasterConfig = {0};
  TIM_OC_InitTypeDef sConfigOC = {0};

  htim5.Instance = TIM5;
  htim5.Init.Prescaler = 0;
  htim5.Init.CounterMode = TIM_COUNTERMODE_UP;
  htim5.Init.Period = 4095;
  htim5.Init.ClockDivision = TIM_CLOCKDIVISION_DIV1;
  htim5.Init.AutoReloadPreload = TIM_AUTORELOAD_PRELOAD_DISABLE;
  if (HAL_TIM_Base_Init(&htim5) != HAL_OK)
  {
    Error_Handler();
  }
  sClockSourceConfig.ClockSource = TIM_CLOCKSOURCE_INTERNAL;
  if (HAL_TIM_ConfigClockSource(&htim5, &sClockSourceConfig) != HAL_OK)
  {
    Error_Handler();
  }
  if (HAL_TIM_PWM_Init(&htim5) != HAL_OK)
  {
    Error_Handler();
  }
  sMasterConfig.MasterOutputTrigger = TIM_TRGO_RESET;
  sMasterConfig.MasterSlaveMode = TIM_MASTERSLAVEMODE_DISABLE;
  if (HAL_TIMEx_MasterConfigSynchronization(&htim5, &sMasterConfig) != HAL_OK)
  {
    Error_Handler();
  }
  sConfigOC.OCMode = TIM_OCMODE_PWM1;
  sConfigOC.Pulse = 0;
  sConfigOC.OCPolarity = TIM_OCPOLARITY_HIGH;
  sConfigOC.OCFastMode = TIM_OCFAST_DISABLE;
  if (HAL_TIM_PWM_ConfigChannel(&htim5, &sConfigOC, TIM_CHANNEL_1) != HAL_OK)
  {
    Error_Handler();
  }
  if (HAL_TIM_PWM_ConfigChannel(&htim5, &sConfigOC, TIM_CHANNEL_2) != HAL_OK)
  {
    Error_Handler();
  }
  if (HAL_TIM_PWM_ConfigChannel(&htim5, &sConfigOC, TIM_CHANNEL_3) != HAL_OK)
  {
    Error_Handler();
  }
  HAL_TIM_MspPostInit(&htim5);

}

static void MX_TIM6_Init(void)
{

  TIM_MasterConfigTypeDef sMasterConfig = {0};

  htim6.Instance = TIM6;
  htim6.Init.Prescaler = 0;
  htim6.Init.CounterMode = TIM_COUNTERMODE_UP;
  htim6.Init.Period = 65535;
  htim6.Init.AutoReloadPreload = TIM_AUTORELOAD_PRELOAD_DISABLE;
  if (HAL_TIM_Base_Init(&htim6) != HAL_OK)
  {
    Error_Handler();
  }
  sMasterConfig.MasterOutputTrigger = TIM_TRGO_UPDATE;
  sMasterConfig.MasterSlaveMode = TIM_MASTERSLAVEMODE_DISABLE;
  if (HAL_TIMEx_MasterConfigSynchronization(&htim6, &sMasterConfig) != HAL_OK)
  {
    Error_Handler();
  }

}

static void MX_TIM19_Init(void)
{

  TIM_ClockConfigTypeDef sClockSourceConfig = {0};
  TIM_MasterConfigTypeDef sMasterConfig = {0};

  htim19.Instance = TIM19;
  htim19.Init.Prescaler = 0;
  htim19.Init.CounterMode = TIM_COUNTERMODE_UP;
  htim19.Init.Period = 65535;
  htim19.Init.ClockDivision = TIM_CLOCKDIVISION_DIV1;
  htim19.Init.AutoReloadPreload = TIM_AUTORELOAD_PRELOAD_DISABLE;
  if (HAL_TIM_Base_Init(&htim19) != HAL_OK)
  {
    Error_Handler();
  }
  sClockSourceConfig.ClockSource = TIM_CLOCKSOURCE_INTERNAL;
  if (HAL_TIM_ConfigClockSource(&htim19, &sClockSourceConfig) != HAL_OK)
  {
    Error_Handler();
  }
  sMasterConfig.MasterOutputTrigger = TIM_TRGO_UPDATE;
  sMasterConfig.MasterSlaveMode = TIM_MASTERSLAVEMODE_DISABLE;
  if (HAL_TIMEx_MasterConfigSynchronization(&htim19, &sMasterConfig) != HAL_OK)
  {
    Error_Handler();
  }

}

static void MX_USART1_UART_Init(void)
{

  huart1.Instance = USART1;
  huart1.Init.BaudRate = 9600;
  huart1.Init.WordLength = UART_WORDLENGTH_8B;
  huart1.Init.StopBits = UART_STOPBITS_1;
  huart1.Init.Parity = UART_PARITY_NONE;
  huart1.Init.Mode = UART_MODE_TX_RX;
  huart1.Init.HwFlowCtl = UART_HWCONTROL_NONE;
  huart1.Init.OverSampling = UART_OVERSAMPLING_16;
  huart1.Init.OneBitSampling = UART_ONE_BIT_SAMPLE_DISABLE;
  huart1.AdvancedInit.AdvFeatureInit = UART_ADVFEATURE_NO_INIT;
  if (HAL_UART_Init(&huart1) != HAL_OK)
  {
    Error_Handler();
  }

}

static void MX_DMA_Init(void)
{

  /* DMA controller clock enable */
  __HAL_RCC_DMA1_CLK_ENABLE();

  /* DMA interrupt init */
  /* DMA1_Channel1_IRQn interrupt configuration */
  HAL_NVIC_SetPriority(DMA1_Channel1_IRQn, 0, 0);
  HAL_NVIC_EnableIRQ(DMA1_Channel1_IRQn);
  /* DMA1_Channel5_IRQn interrupt configuration */
  HAL_NVIC_SetPriority(DMA1_Channel5_IRQn, 0, 0);
  HAL_NVIC_EnableIRQ(DMA1_Channel5_IRQn);

}

static void MX_GPIO_Init(void)
{
  GPIO_InitTypeDef GPIO_InitStruct = {0};

  /* GPIO Ports Clock Enable */
  __HAL_RCC_GPIOC_CLK_ENABLE();
  __HAL_RCC_GPIOF_CLK_ENABLE();
  __HAL_RCC_GPIOA_CLK_ENABLE();
  __HAL_RCC_GPIOB_CLK_ENABLE();
  __HAL_RCC_GPIOE_CLK_ENABLE();
  __HAL_RCC_GPIOD_CLK_ENABLE();

  /*Configure GPIO pins : INPUT_2_Pin INPUT_1_Pin INPUT_0_Pin */
  GPIO_InitStruct.Pin = INPUT_2_Pin|INPUT_1_Pin|INPUT_0_Pin;
  GPIO_InitStruct.Mode = GPIO_MODE_INPUT;
  GPIO_InitStruct.Pull = GPIO_PULLDOWN;
  HAL_GPIO_Init(GPIOC, &GPIO_InitStruct);

  /*Configure GPIO pin : INPUT_5_Pin */
  GPIO_InitStruct.Pin = INPUT_5_Pin;
  GPIO_InitStruct.Mode = GPIO_MODE_INPUT;
  GPIO_InitStruct.Pull = GPIO_PULLDOWN;
  HAL_GPIO_Init(INPUT_5_GPIO_Port, &GPIO_InitStruct);

  /*Configure GPIO pins : INPUT_4_Pin INPUT_3_Pin */
  GPIO_InitStruct.Pin = INPUT_4_Pin|INPUT_3_Pin;
  GPIO_InitStruct.Mode = GPIO_MODE_INPUT;
  GPIO_InitStruct.Pull = GPIO_PULLDOWN;
  HAL_GPIO_Init(GPIOB, &GPIO_InitStruct);

}

/* USER CODE BEGIN 4 */
// When we got a complete RX message - This function runs
void HAL_UART_RxCpltCallback(UART_HandleTypeDef *huart) {
	/* Prevent unused argument(s) compilation warning */
	UNUSED(huart);

	/* NOTE : This function should not be modified, when the callback is needed,
	 the HAL_UART_RxCpltCallback can be implemented in the user file.
	 */

	uint8_t choice = RX_DATA[0];
	switch (choice) {
	case 48: // Ask if is ready
		is_ready();
		break;
	case 49: // Set PWM and DAC periods and also send measurements back
		read_PWM_DAC_periods_send_measurement_back();
		break;
	case 50: // Set Timers prescalers to memory and send status OK back
		write_PWM_TIM_prescalers_to_memory();
		break;
	default: // Answer back that this uC is not ready
		is_not_ready();
		break;
	}
}

// When we got a measurement
void HAL_SDADC_InjectedConvCpltCallback(SDADC_HandleTypeDef *hsdadc){
	// CHANNEL will be 4, 6, 8 but randomly
	// SD_ADC for SDADC1 = [SDADC1_IN4, 0, SDADC1_IN6, SDADC3_IN6, SDADC1_IN8, SDADC3_IN8];
	if(hsdadc->Instance == SDADC1){
		SD_ADC[CHANNEL - 4] = HAL_SDADC_InjectedGetValue(hsdadc, &CHANNEL);
	}else if(hsdadc->Instance == SDADC3){
		SD_ADC[CHANNEL - 4 + 1] = HAL_SDADC_InjectedGetValue(hsdadc, &CHANNEL);
	}
}

// Send back that it's true at first element
void is_ready(){
	uint8_t TX_DATA_element_size = sizeof(TX_DATA) / sizeof(TX_DATA[0]);
	TX_DATA[0] = 1;
	HAL_UART_Transmit(&huart1, TX_DATA, TX_DATA_element_size, 10);
}

// Send back that it's false at first element
void is_not_ready(){
	uint8_t TX_DATA_element_size = sizeof(TX_DATA) / sizeof(TX_DATA[0]);
	TX_DATA[0] = 0;
	HAL_UART_Transmit(&huart1, TX_DATA, TX_DATA_element_size, 10);
}

void read_PWM_DAC_periods_send_measurement_back() {
	// Get the PWM and DAC values
	uint8_t PWM_element_size = sizeof(PWM_PERIOD) / sizeof(PWM_PERIOD[0]);
	uint8_t DAC_element_size = sizeof(DAC_OUTPUT) / sizeof(DAC_OUTPUT[0]);
	fill_uint16_array(RX_DATA, PWM_PERIOD, 1, PWM_element_size); // 1 because the first element is the choice above
	fill_uint16_array(RX_DATA, DAC_OUTPUT, PWM_element_size * 2 + 1, DAC_element_size);

	// Copy over
	uint16_t SD_ADC_VALUES[2] = {SD_ADC[0], SD_ADC[3]};
	uint16_t D_SD_ADC_VALUES[3] = {SD_ADC[2], SD_ADC[4], SD_ADC[5]}; // SD_ADC[1] = empty

	// Send the ADC, SDADC, DSDADC and DI values
	uint8_t ADC_element_size = sizeof(ADC_VALUES) / sizeof(ADC_VALUES[0]);
	uint8_t SD_ADC_element_size = sizeof(SD_ADC_VALUES) / sizeof(SD_ADC_VALUES[0]);
	uint8_t D_SD_ADC_element_size = sizeof(D_SD_ADC_VALUES) / sizeof(D_SD_ADC_VALUES[0]);
	uint8_t DI_element_size = sizeof(DI_VALUES) / sizeof(DI_VALUES[0]);
	uint8_t TX_DATA_element_size = sizeof(TX_DATA) / sizeof(TX_DATA[0]);
	fill_TX_DATA_16(TX_DATA, ADC_VALUES, 0, ADC_element_size);
	fill_TX_DATA_16(TX_DATA, SD_ADC_VALUES, ADC_element_size * 2, SD_ADC_element_size);
	fill_TX_DATA_16(TX_DATA, D_SD_ADC_VALUES, (ADC_element_size + SD_ADC_element_size) * 2, D_SD_ADC_element_size);
	fill_TX_DATA_8(TX_DATA, DI_VALUES, (ADC_element_size + SD_ADC_element_size + D_SD_ADC_element_size) * 2, DI_element_size);
	HAL_UART_Transmit(&huart1, TX_DATA, TX_DATA_element_size, 10);
}

void fill_uint16_array(uint8_t array8[], uint16_t array16[],
		uint8_t elements_that_has_been_written, uint8_t size) {
	for (uint8_t i = 0; i < size; i++) {
		array16[i] = (array8[i + i + elements_that_has_been_written] << 8) | (array8[i + i + 1 + elements_that_has_been_written] & 0xFF);
	}
}

void fill_TX_DATA_16(uint8_t array8[], uint16_t array16[],
		uint8_t elements_that_has_been_written, uint8_t size) {
	for (uint8_t i = 0; i < size; i++) {
		array8[i + i + elements_that_has_been_written] = array16[i] >> 8;
		array8[i + i + 1 + elements_that_has_been_written] = array16[i];
	}
}

void fill_TX_DATA_8(uint8_t array8[], uint16_t array16[],
		uint8_t elements_that_has_been_written, uint8_t size) {
	for (uint8_t i = 0; i < size; i++) {
		array8[i + elements_that_has_been_written] = array16[i];
	}
}

void read_PWM_TIM_prescalers_from_memory() {
	uint32_t Nsize = sizeof(TIM_PRESCALES) / sizeof(TIM_PRESCALES[0]);
	FlashReadN(0, TIM_PRESCALES, Nsize, DATA_TYPE_U16);
	htim2.Instance->PSC = TIM_PRESCALES[0];
	htim3.Instance->PSC = TIM_PRESCALES[1];
	htim4.Instance->PSC = TIM_PRESCALES[2];
	htim5.Instance->PSC = TIM_PRESCALES[3];
}

void write_PWM_TIM_prescalers_to_memory() {
	uint32_t Nsize = sizeof(TIM_PRESCALES) / sizeof(TIM_PRESCALES[0]);
	uint16_t wrBuf[Nsize];
	fill_uint16_array(RX_DATA, wrBuf, 1, Nsize); // 1 because choice is first element
	FlashWriteN(0, wrBuf, Nsize, DATA_TYPE_U16);
	read_PWM_TIM_prescalers_from_memory();
	is_ready();
}

/* USER CODE END 4 */

void Error_Handler(void)
{
	__disable_irq();
	while (1) {
	}
}

/************************ (C) COPYRIGHT STMicroelectronics *****END OF FILE****/
